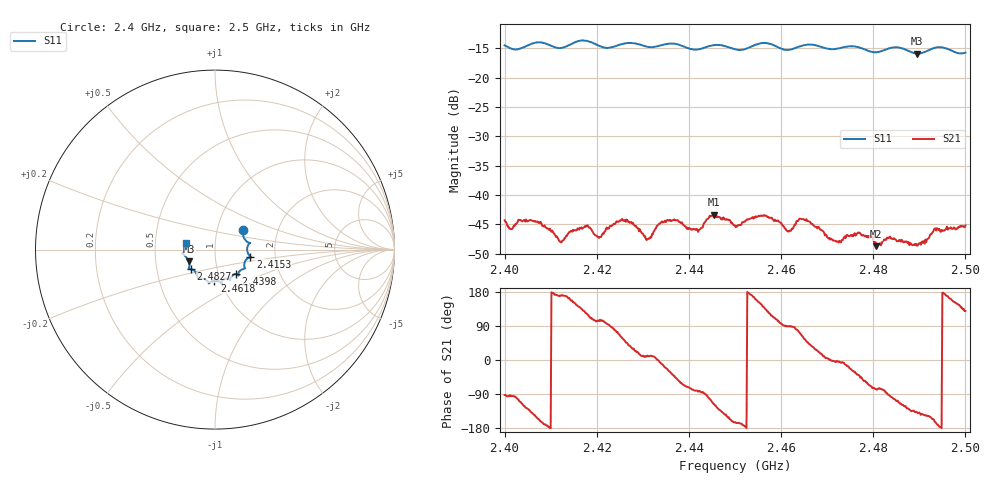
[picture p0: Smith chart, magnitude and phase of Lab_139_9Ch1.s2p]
# Hz S RI R 50
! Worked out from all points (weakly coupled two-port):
!   601 points, 2.4 GHz to 2.5 GHz, reference 50 ohm
!   highest |S21| = -43.37 dB at 2.4455 GHz (marker M1); lowest = -48.7 dB at 2.4807 GHz (marker M2)
!   lowest |S11| = -15.9 dB at 2.4895 GHz (marker M3), VSWR 1.38, Z = 37 - j5 ohm
!   |S11| at or under -10 dB: start of sweep to end of sweep
!   S12 and S22 are empty: the file has one direction only
!   S11 on the Smith chart (normalised r, x): 2.4 GHz: 1.33, +0.30; 2.4153 GHz: 1.48, -0.12; 2.4398 GHz: 1.21, -0.34; 2.4618 GHz: 0.94, -0.33; 2.4827 GHz: 0.75, -0.17; 2.5 GHz: 0.72, +0.06
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2.4e9  0.1551 0.1071  -0.000264 -0.00607  0 0  0 0
2.407333e9  0.1964 0.038  -0.0053 -0.00233  0 0  0 0
2.412333e9  0.179 -0.00473  -0.00389 0.000669  0 0  0 0
2.415333e9  0.197 -0.0394  -0.00431 0.00257  0 0  0 0
2.416667e9  0.2027 -0.0435  -0.00374 0.00375  0 0  0 0
2.4205e9  0.1802 -0.0494  -0.000977 0.00419  0 0  0 0
2.426e9  0.1669 -0.1021  0.00372 0.00473  0 0  0 0
2.431167e9  0.1406 -0.1165  0.00415 0.000704  0 0  0 0
2.433333e9  0.1294 -0.1337  0.00558 -7.63e-05  0 0  0 0
2.439833e9  0.1154 -0.1357  0.00163 -0.00484  0 0  0 0
2.4455e9  0.0841 -0.1698  -0.00309 -0.00604  0 0  0 0
2.45e9  0.0654 -0.1619  -0.00524 -0.00151  0 0  0 0
2.456333e9  0.0392 -0.194  -0.00501 0.00451  0 0  0 0
2.461833e9  -0.00329 -0.173  2.31e-05 0.00498  0 0  0 0
2.466667e9  -0.0348 -0.1881  0.00457 0.00334  0 0  0 0
2.471667e9  -0.0666 -0.162  0.00407 -0.000267  0 0  0 0
2.476833e9  -0.0965 -0.154  0.00369 -0.00308  0 0  0 0
2.480667e9  -0.1155 -0.1172  0.000808 -0.00357  0 0  0 0
2.482667e9  -0.135 -0.1087  0.000319 -0.00417  0 0  0 0
2.483333e9  -0.1402 -0.1083  -0.00012 -0.00428  0 0  0 0
2.4895e9  -0.1461 -0.0659  -0.00275 -0.00246  0 0  0 0
2.5e9  -0.1589 0.0389  -0.00348 0.00425  0 0  0 0
